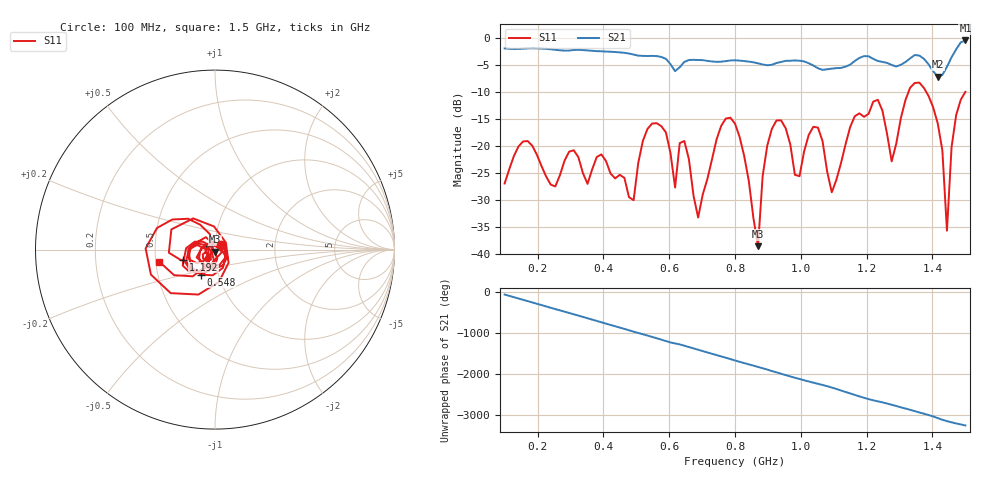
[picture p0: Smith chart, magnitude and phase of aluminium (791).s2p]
! NanoVNA-App
! Date: 2025-09-25 15:01:26
! Start: 100MHz Stop: 1,5GHz Points: 101
! S-Parameter data: F S11 S21 S12 S22
# Hz S RI R 50
!  Frequency  S11_Real  S11_Imag  S21_Real  S21_Imag  S12_Real  S12_Imag  S22_Real  S22_Imag
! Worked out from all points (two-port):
!   101 points, 100 MHz to 1.5 GHz, reference 50 ohm
!   highest |S21| = -0.45 dB at 1.5 GHz (marker M1); lowest = -7.2 dB at 1.416 GHz (marker M2)
!   |S21| within 3 dB of the highest: start of sweep to 571 MHz; 1.459 GHz to end of sweep (the widest 2 of 4)
!   lowest |S11| = -38.6 dB at 870 MHz (marker M3), VSWR 1.02, Z = 50.1 - j1.18 ohm
!   |S11| at or under -10 dB: start of sweep to 1.327 GHz; 1.381 GHz to 1.5 GHz (118.6 MHz wide, 8.24 % of centre)
!   S12 and S22 are empty: the file has one direction only
!   S11 on the Smith chart (normalised r, x): 100 MHz: 1.07, +0.06; 548 MHz: 0.82, -0.23; 1.192 GHz: 0.69, -0.08; 1.5 GHz: 0.52, -0.08
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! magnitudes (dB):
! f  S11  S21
! 100 MHz  -27.0  -1.9
! 156 MHz  -19.2  -2.0
! 338 MHz  -25.1  -2.2
! 492 MHz  -30.0  -3.1
! 548 MHz  -15.9  -3.3
! 576 MHz  -16.3  -3.5
! 618 MHz  -27.7  -6.1
! 646 MHz  -19.1  -4.4
! 688 MHz  -33.3  -4.1
! 800 MHz  -15.9  -4.1
! 870 MHz  -38.6  -4.7
! 912 MHz  -16.8  -5.0
! 996 MHz  -25.6  -4.2
! 1.038 GHz  -16.5  -5.1
! 1.094 GHz  -28.6  -5.7
! 1.192 GHz  -14.6  -3.3
! 1.276 GHz  -22.8  -5.0
! 1.346 GHz  -8.3  -3.1
! 1.416 GHz  -15.8  -7.2
! 1.444 GHz  -35.7  -5.3
! 1.458 GHz  -20.2  -3.6
! 1.5 GHz  -10.0  -0.4
